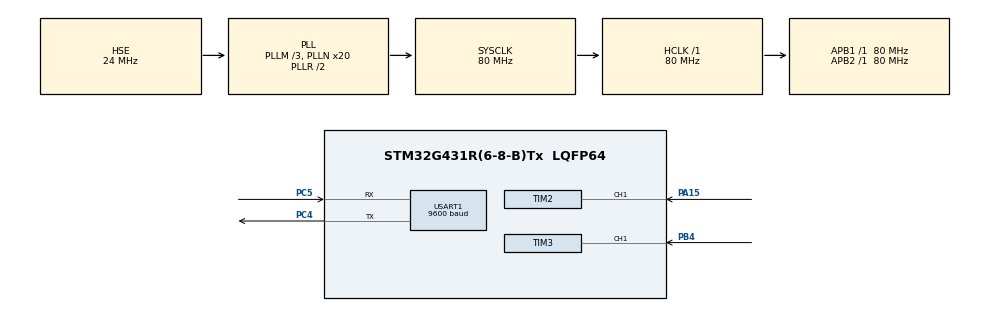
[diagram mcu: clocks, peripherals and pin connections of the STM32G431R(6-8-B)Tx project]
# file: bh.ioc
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Mcu.Family=STM32G4
Mcu.Name=STM32G431R(6-8-B)Tx
Mcu.Package=LQFP64
NVIC.PriorityGroup=NVIC_PRIORITYGROUP_4
NVIC.TIM2_IRQn=true\:0\:0\:false\:false\:true\:true\:true\:true
NVIC.TIM3_IRQn=true\:0\:0\:false\:false\:true\:true\:true\:true
PA13.Mode=Serial_Wire
PA13.Signal=SYS_JTMS-SWDIO
PA14.Mode=Serial_Wire
PA14.Signal=SYS_JTCK-SWCLK
PA15.Signal=S_TIM2_CH1
PB4.Signal=S_TIM3_CH1
PC4.Mode=Asynchronous
PC4.Signal=USART1_TX
PC5.Mode=Asynchronous
PC5.Signal=USART1_RX
PF0-OSC_IN.Mode=HSE-External-Oscillator
PF0-OSC_IN.Signal=RCC_OSC_IN
PF1-OSC_OUT.Mode=HSE-External-Oscillator
PF1-OSC_OUT.Signal=RCC_OSC_OUT
ProjectManager.HeapSize=0x200
ProjectManager.StackSize=0x400
ProjectManager.TargetToolchain=MDK-ARM V5.32
RCC.ADC12Freq_Value=80000000
RCC.AHBFreq_Value=80000000
RCC.APB1Freq_Value=80000000
RCC.APB1TimFreq_Value=80000000
RCC.APB2Freq_Value=80000000
RCC.APB2TimFreq_Value=80000000
RCC.CortexFreq_Value=80000000
RCC.EXTERNAL_CLOCK_VALUE=12288000
RCC.HCLKFreq_Value=80000000
RCC.HSE_VALUE=24000000
RCC.HSI48_VALUE=48000000
RCC.HSI_VALUE=16000000
RCC.LSE_VALUE=32768
RCC.PLLM=RCC_PLLM_DIV3
RCC.PLLN=20
RCC.PLLSourceVirtual=RCC_PLLSOURCE_HSE
RCC.SYSCLKFreq_VALUE=80000000
RCC.SYSCLKSource=RCC_SYSCLKSOURCE_PLLCLK
RCC.USBFreq_Value=80000000
RCC.VCOOutputFreq_Value=160000000
SH.S_TIM2_CH1.0=TIM2_CH1,Input_Capture1_from_TI1
SH.S_TIM3_CH1.0=TIM3_CH1,Input_Capture1_from_TI1
TIM2.Channel-Input_Capture1_from_TI1=TIM_CHANNEL_1
TIM2.Prescaler=80-1
TIM3.Channel-Input_Capture1_from_TI1=TIM_CHANNEL_1
TIM3.Prescaler=80-1
USART1.BaudRate=9600
USART1.VirtualMode-Asynchronous=VM_ASYNC
VP_SYS_VS_DBSignals.Mode=DisableDeadBatterySignals
board=custom

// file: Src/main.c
/* USER CODE BEGIN Header */
/**
  ******************************************************************************
  * @file           : main.c
  * @brief          : Main program body
  ******************************************************************************
  * @attention
  *
  * Copyright (c) 2025 STMicroelectronics.
  * All rights reserved.
  *
  * This software is licensed under terms that can be found in the LICENSE file
  * in the root directory of this software component.
  * If no LICENSE file comes with this software, it is provided AS-IS.
  *
  ******************************************************************************
  */
/* USER CODE END Header */
#include "main.h"
#include "tim.h"
#include "usart.h"
#include "gpio.h"

/* USER CODE BEGIN Includes */
#include "stdio.h"
#include "string.h"
/* USER CODE END Includes */

/* USER CODE BEGIN PTD */
double compare1;    //捕获得到F1的计数值
double compare2;    //捕获得到F2的计数值
float frq1;        //F1的频率
float frq2;       //F2的频率

/* USER CODE END PTD */

/* USER CODE BEGIN PM */

//重定义函数
int fputc(int ch,FILE *f)
{
  HAL_UART_Transmit(&huart1,(uint8_t*)&ch,1,50);
	return ch;
}
/* USER CODE END PM */

void SystemClock_Config(void);

int main(void)
{

  /* MCU Configuration--------------------------------------------------------*/

  /* Reset of all peripherals, Initializes the Flash interface and the Systick. */
  HAL_Init();

  /* Configure the system clock */
  SystemClock_Config();

  /* Initialize all configured peripherals */
  MX_GPIO_Init();
  MX_TIM2_Init();
  MX_TIM3_Init();
  MX_USART1_UART_Init();
  /* USER CODE BEGIN 2 */
	 HAL_TIM_IC_Start_IT(&htim2,TIM_CHANNEL_1);
  HAL_TIM_IC_Start_IT(&htim3,TIM_CHANNEL_1);

  /* USER CODE END 2 */

  /* Infinite loop */
  /* USER CODE BEGIN WHILE */
  while (1)
  {
		printf("frq1:%.0f,Frq2:%.0f\r\n",frq1,frq2);
    /* USER CODE END WHILE */

  }
}

void SystemClock_Config(void)
{
  RCC_OscInitTypeDef RCC_OscInitStruct = {0};
  RCC_ClkInitTypeDef RCC_ClkInitStruct = {0};

  /** Configure the main internal regulator output voltage
  */
  HAL_PWREx_ControlVoltageScaling(PWR_REGULATOR_VOLTAGE_SCALE1);

  /** Initializes the RCC Oscillators according to the specified parameters
  * in the RCC_OscInitTypeDef structure.
  */
  RCC_OscInitStruct.OscillatorType = RCC_OSCILLATORTYPE_HSE;
  RCC_OscInitStruct.HSEState = RCC_HSE_ON;
  RCC_OscInitStruct.PLL.PLLState = RCC_PLL_ON;
  RCC_OscInitStruct.PLL.PLLSource = RCC_PLLSOURCE_HSE;
  RCC_OscInitStruct.PLL.PLLM = RCC_PLLM_DIV3;
  RCC_OscInitStruct.PLL.PLLN = 20;
  RCC_OscInitStruct.PLL.PLLP = RCC_PLLP_DIV2;
  RCC_OscInitStruct.PLL.PLLQ = RCC_PLLQ_DIV2;
  RCC_OscInitStruct.PLL.PLLR = RCC_PLLR_DIV2;
  if (HAL_RCC_OscConfig(&RCC_OscInitStruct) != HAL_OK)
  {
    Error_Handler();
  }

  /** Initializes the CPU, AHB and APB buses clocks
  */
  RCC_ClkInitStruct.ClockType = RCC_CLOCKTYPE_HCLK|RCC_CLOCKTYPE_SYSCLK
                              |RCC_CLOCKTYPE_PCLK1|RCC_CLOCKTYPE_PCLK2;
  RCC_ClkInitStruct.SYSCLKSource = RCC_SYSCLKSOURCE_PLLCLK;
  RCC_ClkInitStruct.AHBCLKDivider = RCC_SYSCLK_DIV1;
  RCC_ClkInitStruct.APB1CLKDivider = RCC_HCLK_DIV1;
  RCC_ClkInitStruct.APB2CLKDivider = RCC_HCLK_DIV1;

  if (HAL_RCC_ClockConfig(&RCC_ClkInitStruct, FLASH_LATENCY_2) != HAL_OK)
  {
    Error_Handler();
  }
}

/* USER CODE BEGIN 4 */
//捕获回调函数
void HAL_TIM_IC_CaptureCallback(TIM_HandleTypeDef *htim)
{
	if(htim->Instance==TIM2)
	{
	  compare1=HAL_TIM_ReadCapturedValue(&htim2,TIM_CHANNEL_1)+1;
	  __HAL_TIM_SetCounter(&htim2,0);
		frq1=(1000000*1.0)/(compare1);
		HAL_TIM_IC_Start_IT(&htim2,TIM_CHANNEL_1);
	}
	if(htim->Instance==TIM3)
	{
	  compare2=HAL_TIM_ReadCapturedValue(&htim3,TIM_CHANNEL_1)+1;
	  __HAL_TIM_SetCounter(&htim3,0);
		frq2=(1000000*1.0)/(compare2);
		HAL_TIM_IC_Start_IT(&htim3,TIM_CHANNEL_1);
	}
}

/* USER CODE END 4 */

void Error_Handler(void)
{
  __disable_irq();
  while (1)
  {
  }
}
